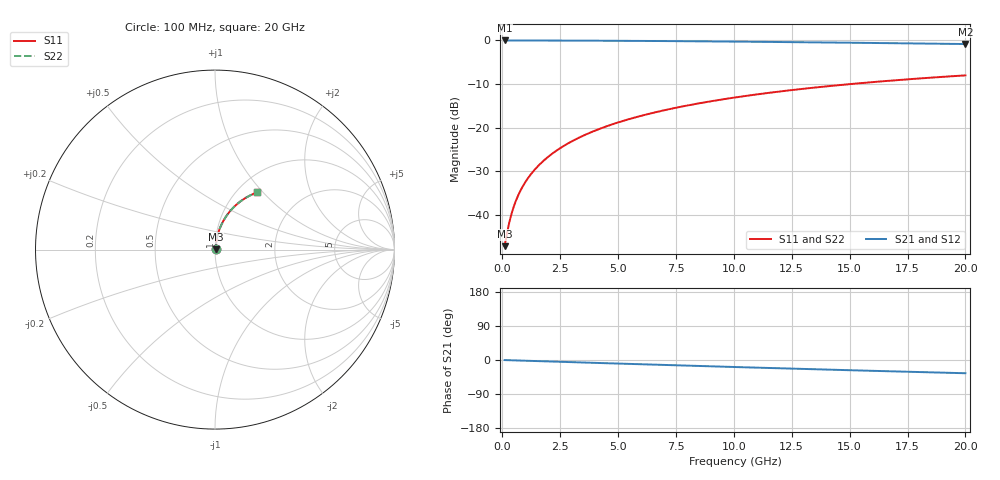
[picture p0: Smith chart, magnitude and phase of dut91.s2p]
! Touchstone file exported from HFSS 2026.1.0
!  File:  C:/ffzhzh/LocalFiles/Ansys_Project_Files/temp_train_TMRDL_91_1782881523_42304.aedt
!  Generated:  12:53:17 PM Jul  1, 2026
!  Design:  TMRDL
!  Project:  temp_train_TMRDL_91_1782881523_42304
! Variables:
!  h_bsmrdl = 2um
!  h_ox = 20um
!  h_rdl = 5um
!  h_sub = 80um
!  h_tmrdl = 3.59um
!  h_tsv = 80um
!  h_via = 3um
!  l_bsmrdl = 300um
!  l_sub = 847.42um
!  l_tmrdl = 447.42um
!  m_sub = 200um
!  pitch = 43.54um
!  r_tsv = 6um
!  s_tmrdl = 10um
!  w_bsmrdl = 18um
!  w_sub = 500um
!  w_tmrdl = 12.36um
!  x_tsv_center1 = 453.6um
!  x_tsv_center2 = 771.6um
!  x_tsv_center3 = 1231.38um
!  x_tsv_center4 = 1549.38um
!  x_tsv_center5 = 2009.16um
!  x_tsv_center6 = 2327.16um
# GHz S MA R 50.000000
! Terminal data exported
! Port[1] = TM_RDL1_1_T1
! Port[2] = TM_RDL1_1_T2
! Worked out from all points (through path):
!   200 points, 100 MHz to 20 GHz, reference 50 ohm
!   highest |S21| = -0.03 dB at 100 MHz (marker M1); lowest = -0.9 dB at 20 GHz (marker M2)
!   group delay of S21, straight-line fit = 4.86 ps
!   lowest |S11| = -47.1 dB at 100 MHz (marker M3), VSWR 1.01, Z = 50.4 + j0.244 ohm
!   |S11| at or under -10 dB: start of sweep to 15.07 GHz
!   |S22| runs from -47.1 to -8.0 dB; largest |S21 - S12| = 2.7e-15
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0.1  0.004396 33.4  0.9963 -0.2  0.9963 -0.2  0.004396 33.4
! Gamma 0 0 0 0
! Port Impedance 50 0 50 0
0.2  0.006108 52.2  0.9963 -0.4  0.9963 -0.4  0.006108 52.2
0.3  0.008169 61.9  0.9962 -0.6  0.9962 -0.6  0.008169 61.9
0.4  0.01035 67.4  0.9961 -0.8  0.9961 -0.8  0.01035 67.4
0.5  0.01258 70.8  0.996 -1.0  0.996 -1.0  0.01258 70.8
0.6  0.01483 73.2  0.9959 -1.2  0.9959 -1.2  0.01483 73.2
0.8  0.01935 76.2  0.9957 -1.5  0.9957 -1.5  0.01935 76.2
1.1  0.02619 78.6  0.9955 -2.1  0.9955 -2.1  0.02619 78.6
1.5  0.03534 80.1  0.995 -2.9  0.995 -2.9  0.03534 80.1
1.8  0.04222 80.5  0.9947 -3.4  0.9947 -3.4  0.04222 80.5
2.1  0.0491 80.7  0.9943 -4.0  0.9943 -4.0  0.0491 80.7
2.7  0.06283 80.5  0.9933 -5.1  0.9933 -5.1  0.06283 80.5
3.5  0.08105 79.8  0.9917 -6.6  0.9917 -6.6  0.08105 79.8
4.2  0.09685 78.9  0.9899 -7.9  0.9899 -7.9  0.09685 78.9
5  0.1147 77.7  0.9876 -9.4  0.9876 -9.4  0.1147 77.7
5.9  0.1345 76.2  0.9847 -11.1  0.9847 -11.1  0.1345 76.3
6.8  0.1541 74.8  0.9813 -12.7  0.9813 -12.7  0.1541 74.8
8.3  0.1858 72.2  0.9751 -15.4  0.9751 -15.4  0.1858 72.2
10.1  0.2226 69.2  0.9665 -18.6  0.9665 -18.6  0.2226 69.2
13.4  0.2862 63.7  0.9485 -24.3  0.9485 -24.3  0.2862 63.8
16.7  0.3443 58.5  0.9282 -29.7  0.9282 -29.7  0.3443 58.5
20  0.3967 53.4  0.9066 -34.9  0.9066 -34.9  0.3967 53.4
